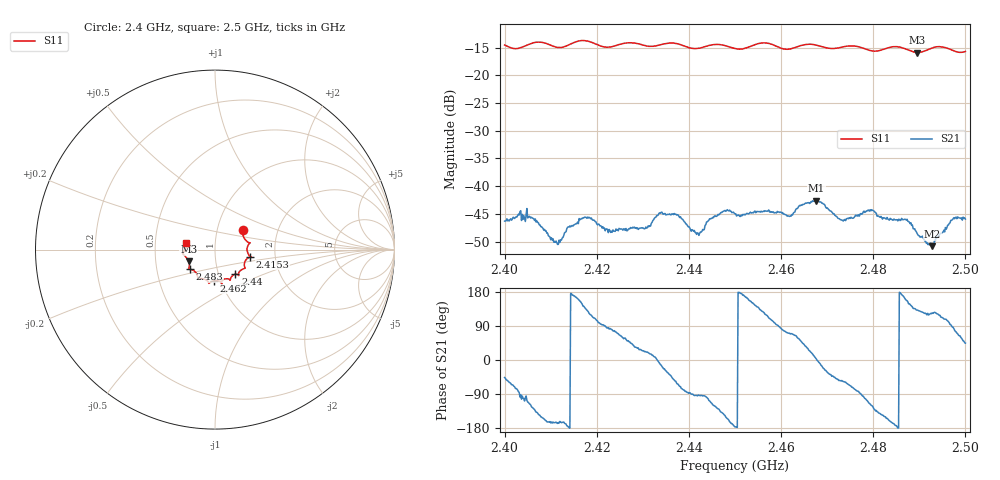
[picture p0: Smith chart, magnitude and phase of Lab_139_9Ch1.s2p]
# Hz S RI R 50
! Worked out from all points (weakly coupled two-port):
!   601 points, 2.4 GHz to 2.5 GHz, reference 50 ohm
!   highest |S21| = -42.60 dB at 2.4677 GHz (marker M1); lowest = -50.8 dB at 2.4928 GHz (marker M2)
!   lowest |S11| = -15.9 dB at 2.4895 GHz (marker M3), VSWR 1.38, Z = 36.9 - j4.98 ohm
!   |S11| at or under -10 dB: start of sweep to end of sweep
!   S12 and S22 are empty: the file has one direction only
!   S11 on the Smith chart (normalised r, x): 2.4 GHz: 1.33, +0.29; 2.4153 GHz: 1.48, -0.12; 2.44 GHz: 1.20, -0.34; 2.462 GHz: 0.93, -0.33; 2.483 GHz: 0.74, -0.17; 2.5 GHz: 0.72, +0.06
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2.4e9  0.1552 0.1066  0.00335 -0.00349  0 0  0 0
2.405167e9  0.1856 0.0401  -0.00195 -0.00485  0 0  0 0
2.411167e9  0.1797 0.0118  -0.00307 -0.000886  0 0  0 0
2.415333e9  0.1963 -0.0385  -0.00442 0.00105  0 0  0 0
2.416667e9  0.202 -0.0425  -0.00445 0.00252  0 0  0 0
2.4235e9  0.1632 -0.0819  0.000911 0.00392  0 0  0 0
2.433333e9  0.131 -0.1336  0.00548 -0.000321  0 0  0 0
2.44e9  0.1141 -0.1367  0.000144 -0.00432  0 0  0 0
2.442167e9  0.0946 -0.1482  -0.000238 -0.00359  0 0  0 0
2.447333e9  0.083 -0.1685  -0.00456 -0.00374  0 0  0 0
2.45e9  0.0645 -0.1626  -0.00561 -0.000327  0 0  0 0
2.462e9  -0.00479 -0.1732  0.00195 0.00501  0 0  0 0
2.466667e9  -0.0342 -0.1877  0.00687 0.00222  0 0  0 0
2.467667e9  -0.0353 -0.1842  0.00741 0.000298  0 0  0 0
2.473e9  -0.0799 -0.1604  0.00282 -0.00409  0 0  0 0
2.479333e9  -0.105 -0.1306  -0.0027 -0.0055  0 0  0 0
2.483e9  -0.1377 -0.1098  -0.00468 -0.00229  0 0  0 0
2.483333e9  -0.1403 -0.1094  -0.00464 -0.00186  0 0  0 0
2.4895e9  -0.1466 -0.0657  -0.00251 0.0028  0 0  0 0
2.492833e9  -0.1749 -0.0282  -0.00161 0.00238  0 0  0 0
2.497333e9  -0.1676 -0.00275  0.000327 0.00506  0 0  0 0
2.5e9  -0.1597 0.0392  0.0036 0.00353  0 0  0 0
